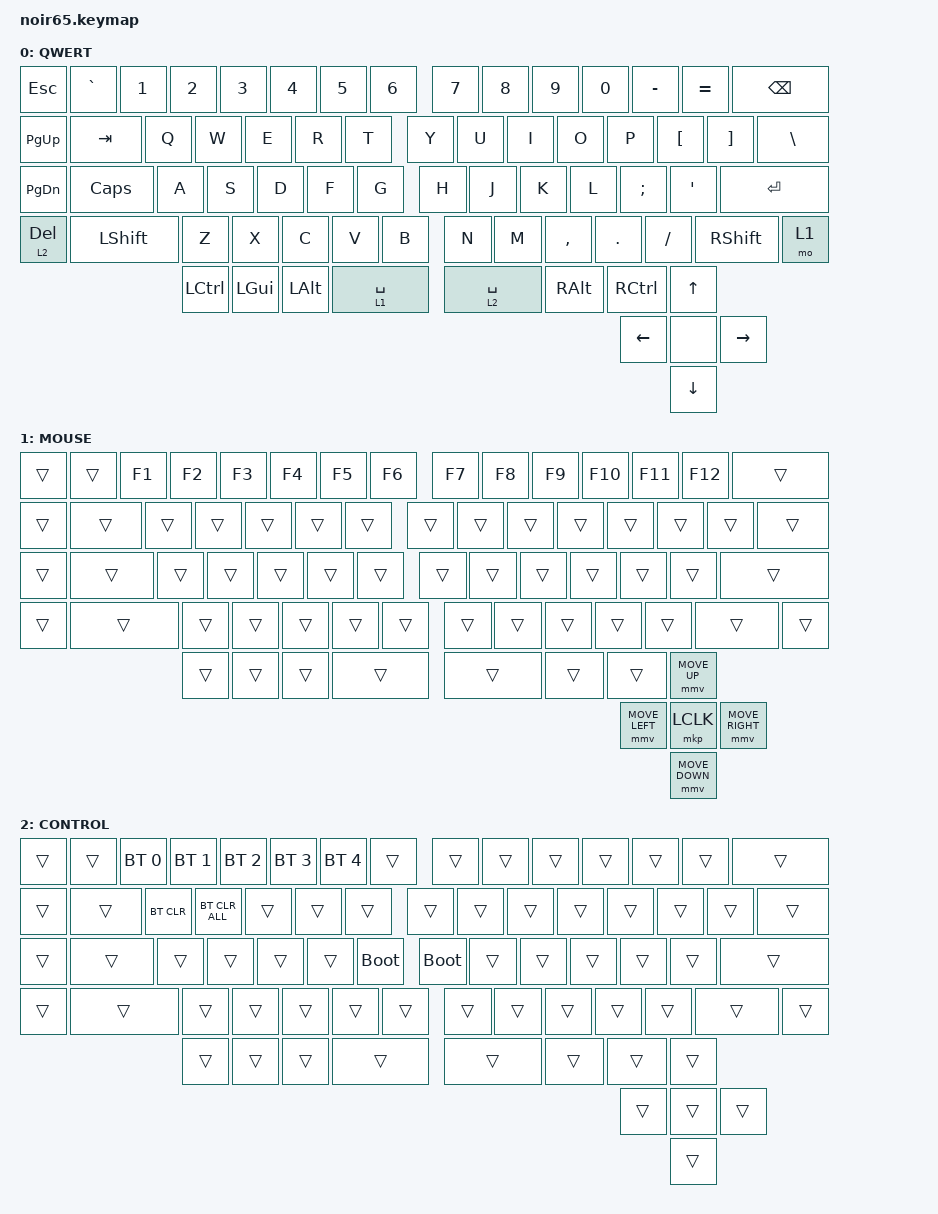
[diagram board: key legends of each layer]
#include <behaviors/mouse_keys.dtsi>
#include <behaviors.dtsi>
#include <dt-bindings/zmk/bt.h>
#include <dt-bindings/zmk/keys.h>
#include <dt-bindings/zmk/mouse.h>

#define ZMK_MOUSE_DEFAULT_MOVE_VAL 1200  // 600
#define ZMK_MOUSE_DEFAULT_SCRL_VAL 20    // 10
#define U_MS_U &mmv MOVE_UP
#define U_MS_D &mmv MOVE_DOWN
#define U_MS_L &mmv MOVE_LEFT
#define U_MS_R &mmv MOVE_RIGHT
#define ZMK_MOUSE_DEFAULT_MOVE_VAL 1200  //  600
#define ZMK_MOUSE_DEFAULT_SCRL_VAL 20    // 10

&lt {
    flavor = "tap-preferred";
    quick-tap-ms = <180>;
};

/ {
    behaviors {
        mmv {
            acceleration-exponent = <1>;      // 1
            time-to-max-speed-ms = <900>;    // 40
            delay-ms = <0>;                   // 0
        };

        msc {
            acceleration-exponent = <1>;      // 0
            time-to-max-speed-ms = <400>;      // 500
            delay-ms = <0>;                   //   10
        };
    };

    keymap {
        compatible = "zmk,keymap";

        layer_0 {
            bindings = <
&kp ESC    &kp GRAVE  &kp N1     &kp N2    &kp N3    &kp N4       &kp N5  &kp N6               &kp N7    &kp N8     &kp N9    &kp N0    &kp MINUS  &kp EQUAL  &kp BSPC
&kp PG_UP  &kp TAB    &kp Q      &kp W     &kp E     &kp R        &kp T           &kp Y        &kp U     &kp I      &kp O     &kp P     &kp LBKT   &kp RBKT   &kp BSLH
&kp PG_DN  &kp CAPS   &kp A      &kp S     &kp D     &kp F        &kp G           &kp H        &kp J     &kp K      &kp L     &kp SEMI  &kp APOS   &kp ENTER
&lt 2 DEL  &kp LSHFT  &kp Z      &kp X     &kp C     &kp V        &kp B           &kp N        &kp M     &kp COMMA  &kp DOT   &kp FSLH  &kp RSHFT  &mo 1
                      &kp LCTRL  &kp LGUI  &kp LALT  &lt 1 SPACE                  &lt 2 SPACE  &kp RALT  &kp RCTRL  &kp DOWN  &kp LEFT  &kp UP     &none      &kp RIGHT
            >;

            label = "QWERT";
        };

        layer_1 {
            bindings = <
&trans  &trans  &kp F1  &kp F2  &kp F3  &kp F4  &kp F5  &kp F6          &kp F7  &kp F8  &kp F9          &kp F10         &kp F11       &kp F12    &trans
&trans  &trans  &trans  &trans  &trans  &trans  &trans          &trans  &trans  &trans  &trans          &trans          &trans        &trans     &trans
&trans  &trans  &trans  &trans  &trans  &trans  &trans          &trans  &trans  &trans  &trans          &trans          &trans        &trans
&trans  &trans  &trans  &trans  &trans  &trans  &trans          &trans  &trans  &trans  &trans          &trans          &trans        &trans
                &trans  &trans  &trans  &trans                  &trans  &trans  &trans  &mmv MOVE_DOWN  &mmv MOVE_LEFT  &mmv MOVE_UP  &mkp LCLK  &mmv MOVE_RIGHT
            >;

            label = "MOUSE";
        };

        layer_2 {
            bindings = <
&trans  &trans  &bt BT_SEL 0  &bt BT_SEL 1    &bt BT_SEL 2  &bt BT_SEL 3  &bt BT_SEL 4  &trans               &trans  &trans  &trans  &trans  &trans  &trans  &trans
&trans  &trans  &bt BT_CLR    &bt BT_CLR_ALL  &trans        &trans        &trans                &trans       &trans  &trans  &trans  &trans  &trans  &trans  &trans
&trans  &trans  &trans        &trans          &trans        &trans        &bootloader           &bootloader  &trans  &trans  &trans  &trans  &trans  &trans
&trans  &trans  &trans        &trans          &trans        &trans        &trans                &trans       &trans  &trans  &trans  &trans  &trans  &trans
                &trans        &trans          &trans        &trans                              &trans       &trans  &trans  &trans  &trans  &trans  &trans  &trans
            >;

            label = "CONTROL";
        };
    };
};
